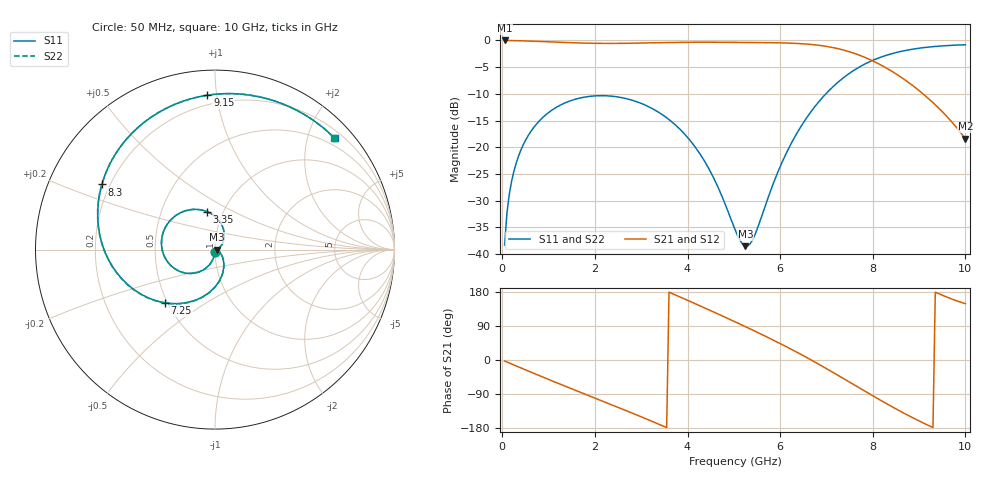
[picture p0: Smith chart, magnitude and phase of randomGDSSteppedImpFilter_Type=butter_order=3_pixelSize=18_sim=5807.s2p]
! freq	dB(S11)	phase(S11)	dB(S12)	phase(S12)
!  dB(S21)	phase(S21)	dB(S22)	phase(S22)
!S-par simulation data
#  GHz  S  DB  R 50
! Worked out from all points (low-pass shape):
!   200 points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, 50 MHz to 10 GHz, reference 50 ohm
!   highest |S21| = -0.01 dB at 50 MHz (marker M1); lowest = -18.4 dB at 10 GHz (marker M2)
!   |S21| within 3 dB of the highest: start of sweep to 7.783 GHz
!   lowest |S11| = -38.5 dB at 5.25 GHz (marker M3), VSWR 1.02, Z = 51.2 + j0.0509 ohm
!   |S11| at or under -10 dB: start of sweep to 6.987 GHz
!   |S22| runs from -38.5 to -0.8 dB; largest |S21 - S12| = 0
!   S11 on the Smith chart (normalised r, x): 50 MHz: 1.00, -0.02; 3.35 GHz: 0.84, +0.37; 7.25 GHz: 0.48, -0.34; 8.3 GHz: 0.17, +0.26; 9.15 GHz: 0.14, +0.94; 10 GHz: 0.34, +2.50
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0.05  -38.31 -92.0  -0.01 -2.7  -0.01 -2.7  -38.31 -92.0
0.1  -32.35 -94.9  -0.01 -5.3  -0.01 -5.3  -32.35 -94.9
0.2  -26.41 -100.5  -0.03 -10.5  -0.03 -10.5  -26.41 -100.5
0.5  -18.73 -116.4  -0.09 -26.0  -0.09 -26.0  -18.73 -116.4
1.15  -12.61 -149.5  -0.32 -58.9  -0.32 -58.9  -12.61 -149.5
1.75  -10.65 -178.9  -0.50 -88.3  -0.50 -88.3  -10.65 -179.0
2.5  -10.59 144.6  -0.56 -124.9  -0.56 -124.9  -10.59 144.5
3.35  -13.31 102.0  -0.43 -167.9  -0.43 -167.9  -13.31 101.8
3.4  -13.58 99.4  -0.42 -170.5  -0.42 -170.5  -13.58 99.2
4.15  -19.77 60.1  -0.33 149.4  -0.33 149.4  -19.77 59.8
5.05  -35.92 13.9  -0.36 99.4  -0.36 99.4  -35.91 13.7
5.25  -38.51 2.4  -0.38 88.0  -0.38 88.0  -38.48 2.9
5.45  -36.49 -12.0  -0.39 76.4  -0.39 76.4  -36.45 -10.8
5.9  -25.73 -41.9  -0.44 49.6  -0.44 49.6  -25.72 -40.9
6.3  -18.31 -67.4  -0.54 24.5  -0.54 24.5  -18.31 -66.7
6.7  -12.95 -94.2  -0.78 -2.0  -0.78 -2.0  -12.95 -93.6
7.25  -7.81 -133.3  -1.55 -40.5  -1.55 -40.5  -7.81 -132.8
7.75  -4.78 -170.1  -2.89 -76.6  -2.89 -76.6  -4.79 -169.7
8.3  -2.77 150.0  -5.20 -115.4  -5.20 -115.4  -2.77 150.3
8.35  -2.63 146.5  -5.45 -118.8  -5.45 -118.8  -2.64 146.8
9.15  -1.30 92.8  -10.48 -169.7  -10.48 -169.7  -1.30 93.0
10  -0.81 43.0  -18.42 148.8  -18.42 148.8  -0.81 43.1
